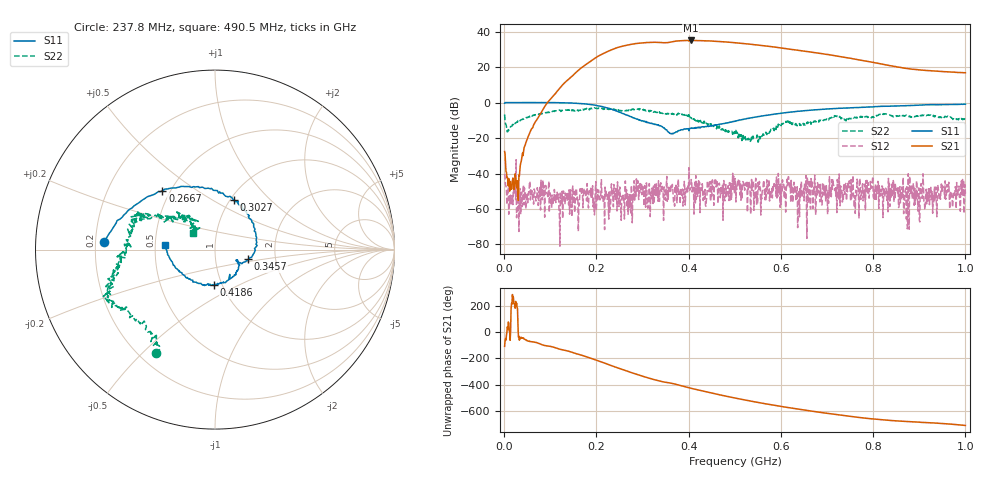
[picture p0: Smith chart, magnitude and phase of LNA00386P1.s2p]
! Created with skrf 1.9.0 (http://scikit-rf.org).
# Hz S RI R 50.0
!freq ReS11 ImS11 ReS21 ImS21 ReS12 ImS12 ReS22 ImS22
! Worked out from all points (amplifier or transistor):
!   1001 points, 1 MHz to 1 GHz, reference 50 ohm
!   highest |S21| = 35.0 dB at 404.6 MHz (marker M1)
!   |S21| within 3 dB of that: 260.3 MHz to 563.1 MHz (302.8 MHz wide, 73.5 % of centre)
!   unconditionally stable (mu >= 1): 210.9 MHz to 262.7 MHz; 286.9 MHz to 400.3 MHz; 400.9 MHz to end of sweep (the widest 3 of 39)
!   at 166.8 MHz: K = 1.24, MAG = 31.4 dB, |S12| = -49.2 dB
!   at 500.5 MHz: K = 1.48, MAG = 34.2 dB, |S12| = -42.8 dB
!   at 1 GHz: K = 4.30, MAG = 24.8 dB, |S12| = -51.3 dB
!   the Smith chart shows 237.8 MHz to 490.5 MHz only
!   S11 on the Smith chart (normalised r, x): 237.8 MHz: 0.24, +0.03; 266.7 MHz: 0.45, +0.37; 302.7 MHz: 1.04, +0.63; 345.7 MHz: 1.44, -0.16; 418.6 MHz: 0.91, -0.38; 490.5 MHz: 0.56, +0.03
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1000000  0.9649 0.00169  -0.0131 -0.0395  -0.00864 0.00452  0.3742 0.2687
1.09891e8  0.5204 -0.8495  -0.801 -1.534  0.00108 0.00137  0.4448 -0.382
1.67833e8  -0.2123 -0.907  -9.603 -0.7723  0.0008 -0.00265  0.0363 -0.6364
2.08792e8  -0.6611 -0.4323  -15.8 15.34  0.00106 0.00179  -0.2087 -0.6624
2.37763e8  -0.617 0.0437  -5.068 32.33  -0.00425 -0.00242  -0.33 -0.577
2.66734e8  -0.2934 0.3277  19.13 37.13  -0.000426 -0.00102  -0.471 -0.3626
2.83717e8  -0.0873 0.3453  33.27 31.64  -0.00349 -0.00196  -0.5859 -0.2805
3.02698e8  0.1042 0.2746  44.62 18.33  -0.0015 -0.00188  -0.5882 -0.2186
3.34666e8  0.235 0.0231  49.1 -8.585  -0.00507 0.0036  -0.5123 -0.0118
3.45655e8  0.1855 -0.0544  46.32 -15.4  5.26e-05 -0.000474  -0.5051 0.0299
3.73627e8  0.1317 -0.072  42.98 -33.28  -4.8e-05 0.00353  -0.4425 0.1676
4.04596e8  0.0644 -0.1771  22.65 -51.63  -0.000189 0.00454  -0.3253 0.184
4.18582e8  -0.00751 -0.1985  11.59 -54.54  0.00241 0.00444  -0.2381 0.1805
4.5055e8  -0.1628 -0.1551  -12.77 -52.85  -0.000446 0.00266  -0.1511 0.1657
4.9051e8  -0.2782 0.0259  -34.32 -36.05  0.00177 -0.000262  -0.1228 0.0909
5.005e8  -0.2832 0.083  -37.74 -31.08  0.00333 -0.00642  -0.1388 0.0619
5.4046e8  -0.2409 0.2961  -42.12 -9.157  0.00582 -5.08e-05  -0.103 -0.0155
5.88412e8  -0.0624 0.4722  -34.67 11.08  0.00436 -0.00184  -0.1634 -0.0807
6.67333e8  0.3063 0.5301  -12.86 22.72  -0.00362 -0.00231  -0.2932 -0.0257
7.51249e8  0.6003 0.3844  3.16 17.41  -0.000805 -0.00143  -0.3483 0.0658
8.34166e8  0.7712 0.1695  7.145 8.573  -0.00193 -0.00112  -0.4023 0.1936
1e9  0.822 -0.3653  6.805 1.334  0.0027 0.000369  -0.074 0.3353
